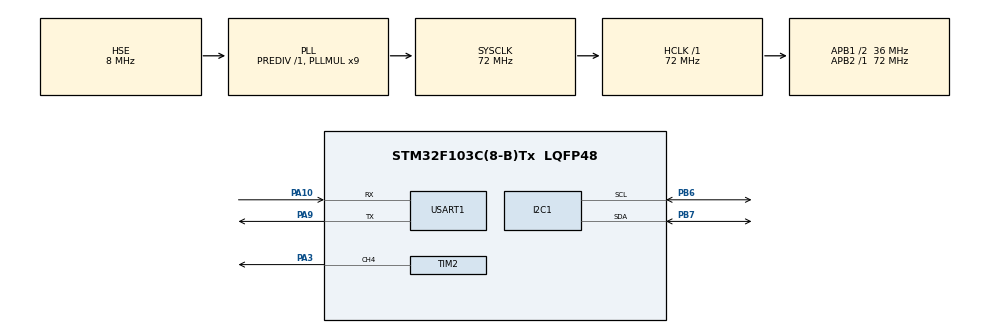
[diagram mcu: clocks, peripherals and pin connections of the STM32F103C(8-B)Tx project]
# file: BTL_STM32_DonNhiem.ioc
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ADC1.Channel-0\#ChannelRegularConversion=ADC_CHANNEL_TEMPSENSOR
ADC1.NbrOfConversionFlag=1
ADC1.Rank-0\#ChannelRegularConversion=1
ADC1.SamplingTime-0\#ChannelRegularConversion=ADC_SAMPLETIME_239CYCLES_5
ADC1.master=1
Mcu.Family=STM32F1
Mcu.Name=STM32F103C(8-B)Tx
Mcu.Package=LQFP48
NVIC.PriorityGroup=NVIC_PRIORITYGROUP_4
PA10.Mode=Asynchronous
PA10.Signal=USART1_RX
PA13.Mode=Serial_Wire
PA13.Signal=SYS_JTMS-SWDIO
PA14.Mode=Serial_Wire
PA14.Signal=SYS_JTCK-SWCLK
PA3.Signal=S_TIM2_CH4
PA9.Mode=Asynchronous
PA9.Signal=USART1_TX
PB6.Mode=I2C
PB6.Signal=I2C1_SCL
PB7.Mode=I2C
PB7.Signal=I2C1_SDA
PD0-OSC_IN.Mode=HSE-External-Oscillator
PD0-OSC_IN.Signal=RCC_OSC_IN
PD1-OSC_OUT.Mode=HSE-External-Oscillator
PD1-OSC_OUT.Signal=RCC_OSC_OUT
ProjectManager.HeapSize=0x200
ProjectManager.StackSize=0x400
ProjectManager.TargetToolchain=STM32CubeIDE
RCC.ADCPresc=RCC_ADCPCLK2_DIV6
RCC.AHBFreq_Value=72000000
RCC.APB1CLKDivider=RCC_HCLK_DIV2
RCC.APB1Freq_Value=36000000
RCC.APB1TimFreq_Value=72000000
RCC.APB2Freq_Value=72000000
RCC.APB2TimFreq_Value=72000000
RCC.HCLKFreq_Value=72000000
RCC.PLLMUL=RCC_PLL_MUL9
RCC.PLLSourceVirtual=RCC_PLLSOURCE_HSE
RCC.SYSCLKFreq_VALUE=72000000
RCC.SYSCLKSource=RCC_SYSCLKSOURCE_PLLCLK
RCC.USBFreq_Value=72000000
SH.S_TIM2_CH4.0=TIM2_CH4,PWM Generation4 CH4
TIM2.Channel-PWM\ Generation4\ CH4=TIM_CHANNEL_4
TIM2.Period=999
TIM2.Prescaler=71
TIM2.Pulse-PWM\ Generation4\ CH4=500
USART1.VirtualMode=VM_ASYNC
VP_ADC1_TempSens_Input.Mode=IN-TempSens
VP_TIM2_VS_ClockSourceINT.Mode=Internal
board=custom

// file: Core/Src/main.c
/* USER CODE BEGIN Header */
/**
  ******************************************************************************
  * @file           : main.c
  * @brief          : Main program body
  ******************************************************************************
  * @attention
  *
  * Copyright (c) 2025 STMicroelectronics.
  * All rights reserved.
  *
  * This software is licensed under terms that can be found in the LICENSE file
  * in the root directory of this software component.
  * If no LICENSE file comes with this software, it is provided AS-IS.
  *
  ******************************************************************************
  */
/* USER CODE END Header */
#include "main.h"

/* USER CODE BEGIN Includes */
#include <stdio.h>
#include <string.h>
#include "liquidcrystal_i2c.h"
/* USER CODE END Includes */

ADC_HandleTypeDef hadc1;

I2C_HandleTypeDef hi2c1;

TIM_HandleTypeDef htim2;

UART_HandleTypeDef huart1;

/* USER CODE BEGIN PV */
float g_currentTemperature = 0.0f;
uint32_t g_currentFrequency = 1000;

uint8_t rxByte;
char cmdBuffer[32];
uint8_t cmdIndex = 0;
/* USER CODE END PV */

void SystemClock_Config(void);
static void MX_GPIO_Init(void);
static void MX_ADC1_Init(void);
static void MX_I2C1_Init(void);
static void MX_TIM2_Init(void);
static void MX_USART1_UART_Init(void);

int main(void)
{

  /* MCU Configuration--------------------------------------------------------*/

  /* Reset of all peripherals, Initializes the Flash interface and the Systick. */
  HAL_Init();

  /* Configure the system clock */
  SystemClock_Config();

  /* Initialize all configured peripherals */
  MX_GPIO_Init();
  MX_ADC1_Init();
  MX_I2C1_Init();
  MX_TIM2_Init();
  MX_USART1_UART_Init();
  /* USER CODE BEGIN 2 */
  HD44780_Init(2);
  HAL_TIM_PWM_Start(&htim2, TIM_CHANNEL_4);
  /* USER CODE END 2 */

  /* Infinite loop */
  /* USER CODE BEGIN WHILE */
  // Các biến mốc thời gian cho các tác vụ
  uint32_t last_sensor_read_time = 0;
  uint32_t last_uart_send_time = 0;

  while (1)
  {
    /* USER CODE END WHILE */

    /* USER CODE BEGIN 3 */
//ADC
    if (HAL_GetTick() - last_sensor_read_time >= 2000)
    {

        last_sensor_read_time = HAL_GetTick();

        HAL_ADC_Start(&hadc1);
        HAL_ADC_PollForConversion(&hadc1, 100);
        uint32_t adcVal = HAL_ADC_GetValue(&hadc1);
        HAL_ADC_Stop(&hadc1);
        g_currentTemperature = ((1.43 - (float)adcVal * 3.3 / 4095.0) / 0.0043) + 25.0;

//LCD
        char lcdBuffer[20];
        sprintf(lcdBuffer, "Temp: %.1fC", g_currentTemperature);
        HD44780_SetCursor(0, 0);
        HD44780_PrintStr(lcdBuffer);
        HD44780_PrintStr("    ");

        sprintf(lcdBuffer, "Freq: %luHz", g_currentFrequency);
        HD44780_SetCursor(0, 1);
        HD44780_PrintStr(lcdBuffer);
        HD44780_PrintStr("    ");
    }
//send UART
    if (HAL_GetTick() - last_uart_send_time >= 1000)
    {
        last_uart_send_time = HAL_GetTick();

        char txBuffer[50];
        sprintf(txBuffer, "Temp: %.1f C, Freq: %lu Hz\r\n", g_currentTemperature, g_currentFrequency);
        HAL_UART_Transmit(&huart1, (uint8_t*)txBuffer, strlen(txBuffer), 100);
    }

//UART send
    if (HAL_UART_Receive(&huart1, &rxByte, 1, 10) == HAL_OK)
    {
        if (rxByte != '\n' && rxByte != '\r' && cmdIndex < sizeof(cmdBuffer) - 1)
        {
            cmdBuffer[cmdIndex++] = rxByte;
        }
        else
        {
            cmdBuffer[cmdIndex] = '\0';
            cmdIndex = 0;

            if (strlen(cmdBuffer) > 0)
            {
                int new_freq;
                if (sscanf(cmdBuffer, "FREQ=%d", &new_freq) > 0)
                {
                    if (new_freq > 0 && new_freq <= 20000)
                    {
                        uint32_t new_arr = 72000000 / (72 * new_freq) - 1;
                        __HAL_TIM_SET_AUTORELOAD(&htim2, new_arr);
                        g_currentFrequency = new_freq;

                        char txBuffer[50];
                        sprintf(txBuffer, "OK! Frequency set to %d Hz\r\n", new_freq);
                        HAL_UART_Transmit(&huart1, (uint8_t*)txBuffer, strlen(txBuffer), 100);
                    }
                }
            }
        }
    }
  }
  /* USER CODE END 3 */
}

void SystemClock_Config(void)
{
  RCC_OscInitTypeDef RCC_OscInitStruct = {0};
  RCC_ClkInitTypeDef RCC_ClkInitStruct = {0};
  RCC_PeriphCLKInitTypeDef PeriphClkInit = {0};

  /** Initializes the RCC Oscillators according to the specified parameters
  * in the RCC_OscInitTypeDef structure.
  */
  RCC_OscInitStruct.OscillatorType = RCC_OSCILLATORTYPE_HSE;
  RCC_OscInitStruct.HSEState = RCC_HSE_ON;
  RCC_OscInitStruct.HSEPredivValue = RCC_HSE_PREDIV_DIV1;
  RCC_OscInitStruct.HSIState = RCC_HSI_ON;
  RCC_OscInitStruct.PLL.PLLState = RCC_PLL_ON;
  RCC_OscInitStruct.PLL.PLLSource = RCC_PLLSOURCE_HSE;
  RCC_OscInitStruct.PLL.PLLMUL = RCC_PLL_MUL9;
  if (HAL_RCC_OscConfig(&RCC_OscInitStruct) != HAL_OK)
  {
    Error_Handler();
  }

  /** Initializes the CPU, AHB and APB buses clocks
  */
  RCC_ClkInitStruct.ClockType = RCC_CLOCKTYPE_HCLK|RCC_CLOCKTYPE_SYSCLK
                              |RCC_CLOCKTYPE_PCLK1|RCC_CLOCKTYPE_PCLK2;
  RCC_ClkInitStruct.SYSCLKSource = RCC_SYSCLKSOURCE_PLLCLK;
  RCC_ClkInitStruct.AHBCLKDivider = RCC_SYSCLK_DIV1;
  RCC_ClkInitStruct.APB1CLKDivider = RCC_HCLK_DIV2;
  RCC_ClkInitStruct.APB2CLKDivider = RCC_HCLK_DIV1;

  if (HAL_RCC_ClockConfig(&RCC_ClkInitStruct, FLASH_LATENCY_2) != HAL_OK)
  {
    Error_Handler();
  }
  PeriphClkInit.PeriphClockSelection = RCC_PERIPHCLK_ADC;
  PeriphClkInit.AdcClockSelection = RCC_ADCPCLK2_DIV6;
  if (HAL_RCCEx_PeriphCLKConfig(&PeriphClkInit) != HAL_OK)
  {
    Error_Handler();
  }
}

static void MX_ADC1_Init(void)
{

  ADC_ChannelConfTypeDef sConfig = {0};

  /** Common config
  */
  hadc1.Instance = ADC1;
  hadc1.Init.ScanConvMode = ADC_SCAN_DISABLE;
  hadc1.Init.ContinuousConvMode = DISABLE;
  hadc1.Init.DiscontinuousConvMode = DISABLE;
  hadc1.Init.ExternalTrigConv = ADC_SOFTWARE_START;
  hadc1.Init.DataAlign = ADC_DATAALIGN_RIGHT;
  hadc1.Init.NbrOfConversion = 1;
  if (HAL_ADC_Init(&hadc1) != HAL_OK)
  {
    Error_Handler();
  }

  /** Configure Regular Channel
  */
  sConfig.Channel = ADC_CHANNEL_TEMPSENSOR;
  sConfig.Rank = ADC_REGULAR_RANK_1;
  sConfig.SamplingTime = ADC_SAMPLETIME_239CYCLES_5;
  if (HAL_ADC_ConfigChannel(&hadc1, &sConfig) != HAL_OK)
  {
    Error_Handler();
  }

}

static void MX_I2C1_Init(void)
{

  hi2c1.Instance = I2C1;
  hi2c1.Init.ClockSpeed = 100000;
  hi2c1.Init.DutyCycle = I2C_DUTYCYCLE_2;
  hi2c1.Init.OwnAddress1 = 0;
  hi2c1.Init.AddressingMode = I2C_ADDRESSINGMODE_7BIT;
  hi2c1.Init.DualAddressMode = I2C_DUALADDRESS_DISABLE;
  hi2c1.Init.OwnAddress2 = 0;
  hi2c1.Init.GeneralCallMode = I2C_GENERALCALL_DISABLE;
  hi2c1.Init.NoStretchMode = I2C_NOSTRETCH_DISABLE;
  if (HAL_I2C_Init(&hi2c1) != HAL_OK)
  {
    Error_Handler();
  }

}

static void MX_TIM2_Init(void)
{

  TIM_ClockConfigTypeDef sClockSourceConfig = {0};
  TIM_MasterConfigTypeDef sMasterConfig = {0};
  TIM_OC_InitTypeDef sConfigOC = {0};

  htim2.Instance = TIM2;
  htim2.Init.Prescaler = 71;
  htim2.Init.CounterMode = TIM_COUNTERMODE_UP;
  htim2.Init.Period = 999;
  htim2.Init.ClockDivision = TIM_CLOCKDIVISION_DIV1;
  htim2.Init.AutoReloadPreload = TIM_AUTORELOAD_PRELOAD_DISABLE;
  if (HAL_TIM_Base_Init(&htim2) != HAL_OK)
  {
    Error_Handler();
  }
  sClockSourceConfig.ClockSource = TIM_CLOCKSOURCE_INTERNAL;
  if (HAL_TIM_ConfigClockSource(&htim2, &sClockSourceConfig) != HAL_OK)
  {
    Error_Handler();
  }
  if (HAL_TIM_PWM_Init(&htim2) != HAL_OK)
  {
    Error_Handler();
  }
  sMasterConfig.MasterOutputTrigger = TIM_TRGO_RESET;
  sMasterConfig.MasterSlaveMode = TIM_MASTERSLAVEMODE_DISABLE;
  if (HAL_TIMEx_MasterConfigSynchronization(&htim2, &sMasterConfig) != HAL_OK)
  {
    Error_Handler();
  }
  sConfigOC.OCMode = TIM_OCMODE_PWM1;
  sConfigOC.Pulse = 500;
  sConfigOC.OCPolarity = TIM_OCPOLARITY_HIGH;
  sConfigOC.OCFastMode = TIM_OCFAST_DISABLE;
  if (HAL_TIM_PWM_ConfigChannel(&htim2, &sConfigOC, TIM_CHANNEL_4) != HAL_OK)
  {
    Error_Handler();
  }
  HAL_TIM_MspPostInit(&htim2);

}

static void MX_USART1_UART_Init(void)
{

  huart1.Instance = USART1;
  huart1.Init.BaudRate = 115200;
  huart1.Init.WordLength = UART_WORDLENGTH_8B;
  huart1.Init.StopBits = UART_STOPBITS_1;
  huart1.Init.Parity = UART_PARITY_NONE;
  huart1.Init.Mode = UART_MODE_TX_RX;
  huart1.Init.HwFlowCtl = UART_HWCONTROL_NONE;
  huart1.Init.OverSampling = UART_OVERSAMPLING_16;
  if (HAL_UART_Init(&huart1) != HAL_OK)
  {
    Error_Handler();
  }

}

static void MX_GPIO_Init(void)
{

  /* GPIO Ports Clock Enable */
  __HAL_RCC_GPIOD_CLK_ENABLE();
  __HAL_RCC_GPIOA_CLK_ENABLE();
  __HAL_RCC_GPIOB_CLK_ENABLE();

}

void Error_Handler(void)
{
  __disable_irq();
  while (1)
  {
  }
}
